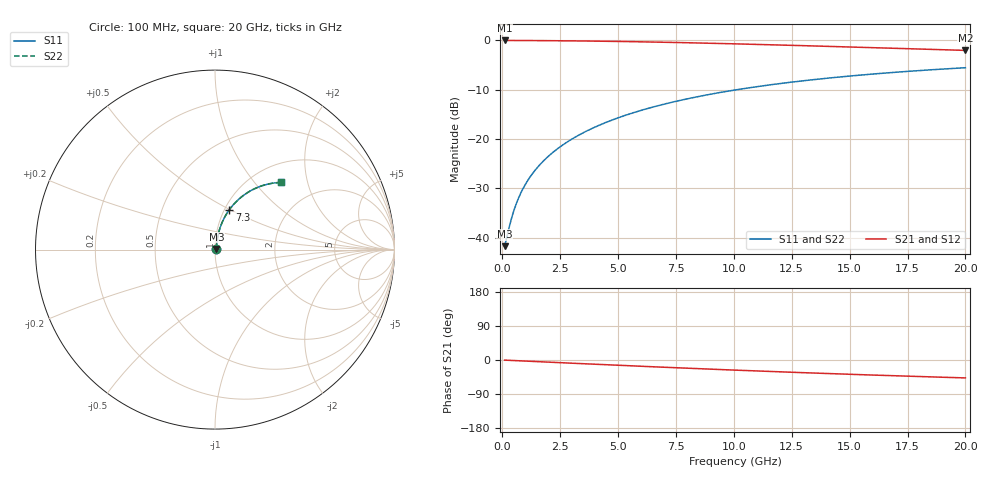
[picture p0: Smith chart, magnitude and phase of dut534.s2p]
! Touchstone file exported from HFSS 2024.1.0
!  File:  C:/UserFiles/LocalFiles/RDL_TSV_Batchsim/temp_RDL_bottom_534_1779688626.aedt
!  Generated:  01:59:41 PM May 25, 2026
!  Design:  RDL_bottom
!  Project:  temp_RDL_bottom_534_1779688626
!  Setup:  Setup1
!  Solution:  Sweep
! Variables:
!  dtsv = 10.80580581um
!  hbump = 3um
!  htsv = 82.69um
!  ldown = 611.1um
!  lrdl = 100um
!  p = 40
!  p1 = 46.67um
!  rhole = 1um
!  t = 450um
!  tdown = 2.6um
!  trdl = 3.915915916um
!  wdown = 11.19um
!  wrdl = 20um
# GHz S MA R 50.000000
! Terminal data exported
! Port[1] = RDL1_T1
! Port[2] = RDL1_T2
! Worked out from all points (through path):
!   200 points, 100 MHz to 20 GHz, reference 50 ohm
!   highest |S21| = -0.07 dB at 100 MHz (marker M1); lowest = -2.1 dB at 20 GHz (marker M2)
!   group delay of S21, straight-line fit = 6.58 ps
!   lowest |S11| = -41.7 dB at 100 MHz (marker M3), VSWR 1.02, Z = 50.8 + j0.348 ohm
!   |S11| at or under -10 dB: start of sweep to 10.18 GHz
!   |S22| runs from -41.7 to -5.6 dB; largest |S21 - S12| = 3.1e-15
!   S11 on the Smith chart (normalised r, x): 100 MHz: 1.02, +0.01; 7.3 GHz: 1.05, +0.49; 20 GHz: 1.35, +1.39
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0.1  0.008211 24.7  0.9925 -0.3  0.9925 -0.3  0.008211 24.7
! Gamma 0 0 0 0
! Port Impedance 50 0 50 0
0.4  0.01574 59.9  0.9922 -1.2  0.9922 -1.2  0.01574 59.9
0.5  0.01881 64.4  0.992 -1.4  0.992 -1.4  0.01881 64.4
0.6  0.02196 67.6  0.9918 -1.7  0.9918 -1.7  0.02196 67.6
0.7  0.02514 69.9  0.9916 -2.0  0.9916 -2.0  0.02514 69.9
0.9  0.03154 72.9  0.9911 -2.6  0.9911 -2.6  0.03154 72.9
1.2  0.04121 75.4  0.9904 -3.4  0.9904 -3.4  0.04121 75.4
1.4  0.04766 76.4  0.9898 -4.0  0.9898 -4.0  0.04766 76.4
1.7  0.05737 77.3  0.9889 -4.8  0.9889 -4.8  0.05737 77.3
2.2  0.07357 77.9  0.9871 -6.2  0.9871 -6.2  0.07357 78.0
2.8  0.09301 77.9  0.9844 -7.9  0.9844 -7.9  0.09301 77.9
3.5  0.1156 77.2  0.9806 -9.8  0.9806 -9.8  0.1156 77.2
4.2  0.1381 76.3  0.9761 -11.7  0.9761 -11.7  0.1381 76.3
5  0.1635 74.9  0.9702 -13.9  0.9702 -13.9  0.1635 74.9
5.9  0.1916 73.2  0.9625 -16.3  0.9625 -16.3  0.1917 73.2
6.8  0.2192 71.4  0.9539 -18.6  0.9539 -18.6  0.2193 71.4
7.3  0.2343 70.4  0.9488 -19.9  0.9488 -19.9  0.2343 70.4
8.6  0.2724 67.6  0.9345 -23.2  0.9345 -23.2  0.2724 67.6
10.1  0.3142 64.4  0.9166 -26.8  0.9166 -26.8  0.3143 64.5
13.4  0.3973 57.6  0.874 -34.3  0.874 -34.3  0.3974 57.6
16.7  0.4676 51.2  0.83 -41.1  0.83 -41.1  0.4678 51.2
20  0.5257 45.4  0.7873 -47.3  0.7873 -47.3  0.5259 45.4
